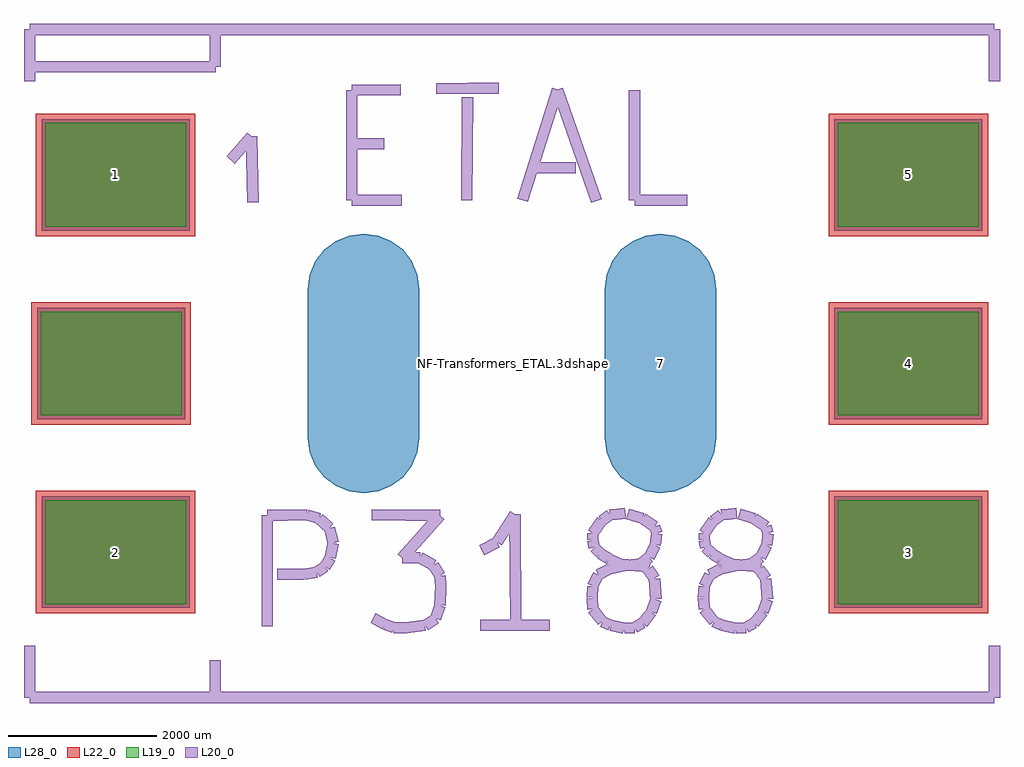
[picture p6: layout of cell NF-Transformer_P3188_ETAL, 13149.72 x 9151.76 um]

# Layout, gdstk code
import gdstk
lib = gdstk.Library(unit=1e-6, precision=1e-09)
def R(c, l, rs):  # rectangles x0, y0, x1, y1
    for r in rs: c.add(gdstk.rectangle(r[:2], r[2:], *l))
def A(c, l, x, y, w, h, nx, ny, dx, dy):  # array of equal rectangles
    R(c, l, [(x+i*dx, y+j*dy, x+i*dx+w, y+j*dy+h) for i in range(nx) for j in range(ny)])
def P(c, l, *ps):  # polygons
    for p in ps: c.add(gdstk.Polygon(p, *l))
L19_0 = (19, 0)
L20_0 = (20, 0)
L22_0 = (22, 0)
L28_0 = (28, 0)

nf_transformer_p3188_eta = lib.new_cell('NF-Transformer_P3188_ETAL')
A(nf_transformer_p3188_eta, L19_0, 4389.59, -3240.57, 1898.98, 1401.14, 1, 3, 0, 2540)
R(nf_transformer_p3188_eta, L19_0, [(-6288.57,-3240.57,-4389.59,-1839.43), (-6349.53,-700.57,-4450.55,700.57), (-6288.57,1839.43,-4389.59,3240.57)])
A(nf_transformer_p3188_eta, L22_0, 4264.59, -3365.57, 2148.98, 1651.14, 1, 3, 0, 2540)
R(nf_transformer_p3188_eta, L22_0, [(-6413.57,-3365.57,-4264.59,-1714.43), (-6474.53,-825.57,-4325.55,825.57), (-6413.57,1714.43,-4264.59,3365.57)])
A(nf_transformer_p3188_eta, L28_0, 4339.59, -3290.57, 1998.98, 1501.14, 1, 3, 0, 2540)
R(nf_transformer_p3188_eta, L28_0, [(-6338.57,-3290.57,-4339.59,-1789.43), (-6399.53,-750.57,-4400.55,750.57), (-6338.57,1789.43,-4339.59,3290.57)])
P(nf_transformer_p3188_eta, L28_0, [(-1998.98,-1750.06),(-1804.718,-1724.485),(-1623.695,-1649.503),(-1468.247,-1530.223),(-1348.967,-1374.775),(-1273.985,-1193.752),(-1248.41,-999.49),(-1248.41,999.49),(-1273.985,1193.752),(-1348.967,1374.775),(-1468.247,1530.223),(-1623.695,1649.503),(-1804.718,1724.485),(-1998.98,1750.06),(-2193.242,1724.485),(-2374.265,1649.503),(-2529.713,1530.223),(-2648.993,1374.775),(-2723.975,1193.752),(-2749.55,999.49),(-2749.55,-999.49),(-2723.975,-1193.752),(-2648.993,-1374.775),(-2529.713,-1530.223),(-2374.265,-1649.503),(-2193.242,-1724.485)],
  [(1998.98,-1750.06),(2193.242,-1724.485),(2374.265,-1649.503),(2529.713,-1530.223),(2648.993,-1374.775),(2723.975,-1193.752),(2749.55,-999.49),(2749.55,999.49),(2723.975,1193.752),(2648.993,1374.775),(2529.713,1530.223),(2374.265,1649.503),(2193.242,1724.485),(1998.98,1750.06),(1804.718,1724.485),(1623.695,1649.503),(1468.247,1530.223),(1348.967,1374.775),(1273.985,1193.752),(1248.41,999.49),(1248.41,-999.49),(1273.985,-1193.752),(1348.967,-1374.775),(1468.247,-1530.223),(1623.695,-1649.503),(1804.718,-1724.485)])
nf_transformer_p3188_eta.add(gdstk.FlexPath([(-6499.86,-4500.88),(6499.86,-4500.88)], 149.998, ends="flush", simple_path=True, layer=20, datatype=0))  # L20_0
nf_transformer_p3188_eta.add(gdstk.FlexPath([(6499.86,4500.88),(-6499.86,4500.88)], 149.998, ends="flush", simple_path=True, layer=20, datatype=0))  # L20_0
nf_transformer_p3188_eta.add(gdstk.FlexPath([(6499.86,4500.88),(6499.86,3799.84)], 149.998, ends="flush", simple_path=True, layer=20, datatype=0))  # L20_0
nf_transformer_p3188_eta.add(gdstk.FlexPath([(6499.86,-3799.84),(6499.86,-4500.88)], 149.998, ends="flush", simple_path=True, layer=20, datatype=0))  # L20_0
nf_transformer_p3188_eta.add(gdstk.FlexPath([(-6499.86,-3799.84),(-6499.86,-4500.88)], 149.998, ends="flush", simple_path=True, layer=20, datatype=0))  # L20_0
nf_transformer_p3188_eta.add(gdstk.FlexPath([(-6499.86,4500.88),(-6499.86,3799.84)], 149.998, ends="flush", simple_path=True, layer=20, datatype=0))  # L20_0
nf_transformer_p3188_eta.add(gdstk.FlexPath([(-2159,2199.64),(-1488.44,2199.64)], 149.998, ends="flush", simple_path=True, layer=20, datatype=0))  # L20_0
nf_transformer_p3188_eta.add(gdstk.FlexPath([(-2159,3680.46),(-2159,2199.64)], 149.998, ends="flush", simple_path=True, layer=20, datatype=0))  # L20_0
nf_transformer_p3188_eta.add(gdstk.FlexPath([(-1498.6,3690.62),(-2159,3680.46)], 149.998, ends="flush", simple_path=True, layer=20, datatype=0))  # L20_0
nf_transformer_p3188_eta.add(gdstk.FlexPath([(-2128.52,2959.1),(-1719.58,2959.1)], 149.998, ends="flush", simple_path=True, layer=20, datatype=0))  # L20_0
nf_transformer_p3188_eta.add(gdstk.FlexPath([(-1018.54,3700.78),(-177.8,3710.94)], 149.998, ends="flush", simple_path=True, layer=20, datatype=0))  # L20_0
nf_transformer_p3188_eta.add(gdstk.FlexPath([(-609.6,2199.64),(-599.44,3589.02)], 149.998, ends="flush", simple_path=True, layer=20, datatype=0))  # L20_0
nf_transformer_p3188_eta.add(gdstk.FlexPath([(612.14,3690.62),(1140.46,2189.48)], 149.998, ends="flush", simple_path=True, layer=20, datatype=0))  # L20_0
nf_transformer_p3188_eta.add(gdstk.FlexPath([(142.24,2199.64),(612.14,3690.62)], 149.998, ends="flush", simple_path=True, layer=20, datatype=0))  # L20_0
nf_transformer_p3188_eta.add(gdstk.FlexPath([(320.04,2639.06),(861.06,2639.06)], 149.998, ends="flush", simple_path=True, layer=20, datatype=0))  # L20_0
nf_transformer_p3188_eta.add(gdstk.FlexPath([(1651,2199.64),(2362.2,2199.64)], 149.998, ends="flush", simple_path=True, layer=20, datatype=0))  # L20_0
nf_transformer_p3188_eta.add(gdstk.FlexPath([(1651,3680.46),(1651,2199.64)], 149.998, ends="flush", simple_path=True, layer=20, datatype=0))  # L20_0
nf_transformer_p3188_eta.add(gdstk.FlexPath([(-2799.08,-2837.18),(-3159.76,-2837.18)], 149.998, ends="flush", simple_path=True, layer=20, datatype=0))  # L20_0
nf_transformer_p3188_eta.add(gdstk.FlexPath([(-2628.9,-2809.24),(-2799.08,-2837.18)], 149.998, ends="flush", simple_path=True, layer=20, datatype=0))  # L20_0
nf_transformer_p3188_eta.add(gdstk.FlexPath([(-2519.68,-2738.12),(-2628.9,-2809.24)], 149.998, ends="flush", simple_path=True, layer=20, datatype=0))  # L20_0
nf_transformer_p3188_eta.add(gdstk.FlexPath([(-2448.56,-2618.74),(-2519.68,-2738.12)], 149.998, ends="flush", simple_path=True, layer=20, datatype=0))  # L20_0
nf_transformer_p3188_eta.add(gdstk.FlexPath([(-2410.46,-2418.08),(-2448.56,-2618.74)], 149.998, ends="flush", simple_path=True, layer=20, datatype=0))  # L20_0
nf_transformer_p3188_eta.add(gdstk.FlexPath([(-2458.72,-2217.42),(-2410.46,-2418.08)], 149.998, ends="flush", simple_path=True, layer=20, datatype=0))  # L20_0
nf_transformer_p3188_eta.add(gdstk.FlexPath([(-2598.42,-2087.88),(-2458.72,-2217.42)], 149.998, ends="flush", simple_path=True, layer=20, datatype=0))  # L20_0
nf_transformer_p3188_eta.add(gdstk.FlexPath([(-2758.44,-2039.62),(-2598.42,-2087.88)], 149.998, ends="flush", simple_path=True, layer=20, datatype=0))  # L20_0
nf_transformer_p3188_eta.add(gdstk.FlexPath([(-3299.46,-2047.24),(-2758.44,-2039.62)], 149.998, ends="flush", simple_path=True, layer=20, datatype=0))  # L20_0
nf_transformer_p3188_eta.add(gdstk.FlexPath([(-3299.46,-3538.22),(-3299.46,-2047.24)], 149.998, ends="flush", simple_path=True, layer=20, datatype=0))  # L20_0
nf_transformer_p3188_eta.add(gdstk.FlexPath([(-1709.42,-3517.9),(-1869.44,-3429)], 149.998, ends="flush", simple_path=True, layer=20, datatype=0))  # L20_0
nf_transformer_p3188_eta.add(gdstk.FlexPath([(-1590.04,-3558.54),(-1709.42,-3517.9)], 149.998, ends="flush", simple_path=True, layer=20, datatype=0))  # L20_0
nf_transformer_p3188_eta.add(gdstk.FlexPath([(-1419.86,-3558.54),(-1590.04,-3558.54)], 149.998, ends="flush", simple_path=True, layer=20, datatype=0))  # L20_0
nf_transformer_p3188_eta.add(gdstk.FlexPath([(-1170.94,-3528.06),(-1419.86,-3558.54)], 149.998, ends="flush", simple_path=True, layer=20, datatype=0))  # L20_0
nf_transformer_p3188_eta.add(gdstk.FlexPath([(-1028.7,-3439.16),(-1170.94,-3528.06)], 149.998, ends="flush", simple_path=True, layer=20, datatype=0))  # L20_0
nf_transformer_p3188_eta.add(gdstk.FlexPath([(-970.28,-3258.82),(-1028.7,-3439.16)], 149.998, ends="flush", simple_path=True, layer=20, datatype=0))  # L20_0
nf_transformer_p3188_eta.add(gdstk.FlexPath([(-960.12,-2997.2),(-970.28,-3258.82)], 149.998, ends="flush", simple_path=True, layer=20, datatype=0))  # L20_0
nf_transformer_p3188_eta.add(gdstk.FlexPath([(-970.28,-2857.5),(-960.12,-2997.2)], 149.998, ends="flush", simple_path=True, layer=20, datatype=0))  # L20_0
nf_transformer_p3188_eta.add(gdstk.FlexPath([(-1059.18,-2717.8),(-970.28,-2857.5)], 149.998, ends="flush", simple_path=True, layer=20, datatype=0))  # L20_0
nf_transformer_p3188_eta.add(gdstk.FlexPath([(-1239.52,-2618.74),(-1059.18,-2717.8)], 149.998, ends="flush", simple_path=True, layer=20, datatype=0))  # L20_0
nf_transformer_p3188_eta.add(gdstk.FlexPath([(-1480.82,-2618.74),(-1239.52,-2618.74)], 149.998, ends="flush", simple_path=True, layer=20, datatype=0))  # L20_0
nf_transformer_p3188_eta.add(gdstk.FlexPath([(-970.28,-2047.24),(-1480.82,-2618.74)], 149.998, ends="flush", simple_path=True, layer=20, datatype=0))  # L20_0
nf_transformer_p3188_eta.add(gdstk.FlexPath([(-1889.76,-2039.62),(-970.28,-2047.24)], 149.998, ends="flush", simple_path=True, layer=20, datatype=0))  # L20_0
nf_transformer_p3188_eta.add(gdstk.FlexPath([(40.64,-2029.46),(50.8,-3528.06)], 149.998, ends="flush", simple_path=True, layer=20, datatype=0))  # L20_0
nf_transformer_p3188_eta.add(gdstk.FlexPath([(-200.66,-2407.92),(40.64,-2029.46)], 149.998, ends="flush", simple_path=True, layer=20, datatype=0))  # L20_0
nf_transformer_p3188_eta.add(gdstk.FlexPath([(-408.94,-2517.14),(-200.66,-2407.92)], 149.998, ends="flush", simple_path=True, layer=20, datatype=0))  # L20_0
nf_transformer_p3188_eta.add(gdstk.FlexPath([(-429.26,-3528.06),(510.54,-3528.06)], 149.998, ends="flush", simple_path=True, layer=20, datatype=0))  # L20_0
nf_transformer_p3188_eta.add(gdstk.FlexPath([(1760.22,-2087.88),(1559.56,-2029.46)], 149.998, ends="flush", simple_path=True, layer=20, datatype=0))  # L20_0
nf_transformer_p3188_eta.add(gdstk.FlexPath([(1920.24,-2197.1),(1760.22,-2087.88)], 149.998, ends="flush", simple_path=True, layer=20, datatype=0))  # L20_0
nf_transformer_p3188_eta.add(gdstk.FlexPath([(1950.72,-2288.54),(1920.24,-2197.1)], 149.998, ends="flush", simple_path=True, layer=20, datatype=0))  # L20_0
nf_transformer_p3188_eta.add(gdstk.FlexPath([(1930.4,-2448.56),(1950.72,-2288.54)], 149.998, ends="flush", simple_path=True, layer=20, datatype=0))  # L20_0
nf_transformer_p3188_eta.add(gdstk.FlexPath([(1849.12,-2608.58),(1930.4,-2448.56)], 149.998, ends="flush", simple_path=True, layer=20, datatype=0))  # L20_0
nf_transformer_p3188_eta.add(gdstk.FlexPath([(1729.74,-2697.48),(1849.12,-2608.58)], 149.998, ends="flush", simple_path=True, layer=20, datatype=0))  # L20_0
nf_transformer_p3188_eta.add(gdstk.FlexPath([(1501.14,-2727.96),(1729.74,-2697.48)], 149.998, ends="flush", simple_path=True, layer=20, datatype=0))  # L20_0
nf_transformer_p3188_eta.add(gdstk.FlexPath([(1320.8,-2768.6),(1501.14,-2727.96)], 149.998, ends="flush", simple_path=True, layer=20, datatype=0))  # L20_0
nf_transformer_p3188_eta.add(gdstk.FlexPath([(1160.78,-2847.34),(1320.8,-2768.6)], 149.998, ends="flush", simple_path=True, layer=20, datatype=0))  # L20_0
nf_transformer_p3188_eta.add(gdstk.FlexPath([(1089.66,-2997.2),(1160.78,-2847.34)], 149.998, ends="flush", simple_path=True, layer=20, datatype=0))  # L20_0
nf_transformer_p3188_eta.add(gdstk.FlexPath([(1079.5,-3157.22),(1089.66,-2997.2)], 149.998, ends="flush", simple_path=True, layer=20, datatype=0))  # L20_0
nf_transformer_p3188_eta.add(gdstk.FlexPath([(1089.66,-3309.62),(1079.5,-3157.22)], 149.998, ends="flush", simple_path=True, layer=20, datatype=0))  # L20_0
nf_transformer_p3188_eta.add(gdstk.FlexPath([(1219.2,-3477.26),(1089.66,-3309.62)], 149.998, ends="flush", simple_path=True, layer=20, datatype=0))  # L20_0
nf_transformer_p3188_eta.add(gdstk.FlexPath([(1330.96,-3528.06),(1219.2,-3477.26)], 149.998, ends="flush", simple_path=True, layer=20, datatype=0))  # L20_0
nf_transformer_p3188_eta.add(gdstk.FlexPath([(1511.3,-3568.7),(1330.96,-3528.06)], 149.998, ends="flush", simple_path=True, layer=20, datatype=0))  # L20_0
nf_transformer_p3188_eta.add(gdstk.FlexPath([(1651,-3558.54),(1511.3,-3568.7)], 149.998, ends="flush", simple_path=True, layer=20, datatype=0))  # L20_0
nf_transformer_p3188_eta.add(gdstk.FlexPath([(1760.22,-3497.58),(1651,-3558.54)], 149.998, ends="flush", simple_path=True, layer=20, datatype=0))  # L20_0
nf_transformer_p3188_eta.add(gdstk.FlexPath([(1879.6,-3347.72),(1760.22,-3497.58)], 149.998, ends="flush", simple_path=True, layer=20, datatype=0))  # L20_0
nf_transformer_p3188_eta.add(gdstk.FlexPath([(1940.56,-3177.54),(1879.6,-3347.72)], 149.998, ends="flush", simple_path=True, layer=20, datatype=0))  # L20_0
nf_transformer_p3188_eta.add(gdstk.FlexPath([(1920.24,-2898.14),(1940.56,-3177.54)], 149.998, ends="flush", simple_path=True, layer=20, datatype=0))  # L20_0
nf_transformer_p3188_eta.add(gdstk.FlexPath([(1831.34,-2768.6),(1920.24,-2898.14)], 149.998, ends="flush", simple_path=True, layer=20, datatype=0))  # L20_0
nf_transformer_p3188_eta.add(gdstk.FlexPath([(1760.22,-2727.96),(1831.34,-2768.6)], 149.998, ends="flush", simple_path=True, layer=20, datatype=0))  # L20_0
nf_transformer_p3188_eta.add(gdstk.FlexPath([(1470.66,-2707.64),(1760.22,-2727.96)], 149.998, ends="flush", simple_path=True, layer=20, datatype=0))  # L20_0
nf_transformer_p3188_eta.add(gdstk.FlexPath([(1300.48,-2628.9),(1470.66,-2707.64)], 149.998, ends="flush", simple_path=True, layer=20, datatype=0))  # L20_0
nf_transformer_p3188_eta.add(gdstk.FlexPath([(1191.26,-2557.78),(1300.48,-2628.9)], 149.998, ends="flush", simple_path=True, layer=20, datatype=0))  # L20_0
nf_transformer_p3188_eta.add(gdstk.FlexPath([(1109.98,-2479.04),(1191.26,-2557.78)], 149.998, ends="flush", simple_path=True, layer=20, datatype=0))  # L20_0
nf_transformer_p3188_eta.add(gdstk.FlexPath([(1089.66,-2377.44),(1109.98,-2479.04)], 149.998, ends="flush", simple_path=True, layer=20, datatype=0))  # L20_0
nf_transformer_p3188_eta.add(gdstk.FlexPath([(1089.66,-2288.54),(1089.66,-2377.44)], 149.998, ends="flush", simple_path=True, layer=20, datatype=0))  # L20_0
nf_transformer_p3188_eta.add(gdstk.FlexPath([(1211.58,-2118.36),(1089.66,-2288.54)], 149.998, ends="flush", simple_path=True, layer=20, datatype=0))  # L20_0
nf_transformer_p3188_eta.add(gdstk.FlexPath([(1320.8,-2039.62),(1211.58,-2118.36)], 149.998, ends="flush", simple_path=True, layer=20, datatype=0))  # L20_0
nf_transformer_p3188_eta.add(gdstk.FlexPath([(1419.86,-2029.46),(1320.8,-2039.62)], 149.998, ends="flush", simple_path=True, layer=20, datatype=0))  # L20_0
nf_transformer_p3188_eta.add(gdstk.FlexPath([(1529.08,-2019.3),(1419.86,-2029.46)], 149.998, ends="flush", simple_path=True, layer=20, datatype=0))  # L20_0
nf_transformer_p3188_eta.add(gdstk.FlexPath([(-4000.5,4500.88),(-4000.5,4000.5)], 149.998, ends="flush", simple_path=True, layer=20, datatype=0))  # L20_0
nf_transformer_p3188_eta.add(gdstk.FlexPath([(-4000.5,-4500.88),(-4000.5,-4000.5)], 149.998, ends="flush", simple_path=True, layer=20, datatype=0))  # L20_0
nf_transformer_p3188_eta.add(gdstk.FlexPath([(3030.22,-2019.3),(2921,-2029.46)], 149.998, ends="flush", simple_path=True, layer=20, datatype=0))  # L20_0
nf_transformer_p3188_eta.add(gdstk.FlexPath([(2921,-2029.46),(2821.94,-2039.62)], 149.998, ends="flush", simple_path=True, layer=20, datatype=0))  # L20_0
nf_transformer_p3188_eta.add(gdstk.FlexPath([(2821.94,-2039.62),(2712.72,-2118.36)], 149.998, ends="flush", simple_path=True, layer=20, datatype=0))  # L20_0
nf_transformer_p3188_eta.add(gdstk.FlexPath([(2712.72,-2118.36),(2590.8,-2288.54)], 149.998, ends="flush", simple_path=True, layer=20, datatype=0))  # L20_0
nf_transformer_p3188_eta.add(gdstk.FlexPath([(2590.8,-2288.54),(2590.8,-2377.44)], 149.998, ends="flush", simple_path=True, layer=20, datatype=0))  # L20_0
nf_transformer_p3188_eta.add(gdstk.FlexPath([(2590.8,-2377.44),(2611.12,-2479.04)], 149.998, ends="flush", simple_path=True, layer=20, datatype=0))  # L20_0
nf_transformer_p3188_eta.add(gdstk.FlexPath([(2611.12,-2479.04),(2692.4,-2557.78)], 149.998, ends="flush", simple_path=True, layer=20, datatype=0))  # L20_0
nf_transformer_p3188_eta.add(gdstk.FlexPath([(2692.4,-2557.78),(2801.62,-2628.9)], 149.998, ends="flush", simple_path=True, layer=20, datatype=0))  # L20_0
nf_transformer_p3188_eta.add(gdstk.FlexPath([(2801.62,-2628.9),(2971.8,-2707.64)], 149.998, ends="flush", simple_path=True, layer=20, datatype=0))  # L20_0
nf_transformer_p3188_eta.add(gdstk.FlexPath([(2971.8,-2707.64),(3261.36,-2727.96)], 149.998, ends="flush", simple_path=True, layer=20, datatype=0))  # L20_0
nf_transformer_p3188_eta.add(gdstk.FlexPath([(3261.36,-2727.96),(3332.48,-2768.6)], 149.998, ends="flush", simple_path=True, layer=20, datatype=0))  # L20_0
nf_transformer_p3188_eta.add(gdstk.FlexPath([(3332.48,-2768.6),(3421.38,-2898.14)], 149.998, ends="flush", simple_path=True, layer=20, datatype=0))  # L20_0
nf_transformer_p3188_eta.add(gdstk.FlexPath([(3421.38,-2898.14),(3441.7,-3177.54)], 149.998, ends="flush", simple_path=True, layer=20, datatype=0))  # L20_0
nf_transformer_p3188_eta.add(gdstk.FlexPath([(3441.7,-3177.54),(3380.74,-3347.72)], 149.998, ends="flush", simple_path=True, layer=20, datatype=0))  # L20_0
nf_transformer_p3188_eta.add(gdstk.FlexPath([(3380.74,-3347.72),(3261.36,-3497.58)], 149.998, ends="flush", simple_path=True, layer=20, datatype=0))  # L20_0
nf_transformer_p3188_eta.add(gdstk.FlexPath([(3261.36,-3497.58),(3152.14,-3558.54)], 149.998, ends="flush", simple_path=True, layer=20, datatype=0))  # L20_0
nf_transformer_p3188_eta.add(gdstk.FlexPath([(3152.14,-3558.54),(3012.44,-3568.7)], 149.998, ends="flush", simple_path=True, layer=20, datatype=0))  # L20_0
nf_transformer_p3188_eta.add(gdstk.FlexPath([(3012.44,-3568.7),(2832.1,-3528.06)], 149.998, ends="flush", simple_path=True, layer=20, datatype=0))  # L20_0
nf_transformer_p3188_eta.add(gdstk.FlexPath([(2832.1,-3528.06),(2720.34,-3477.26)], 149.998, ends="flush", simple_path=True, layer=20, datatype=0))  # L20_0
nf_transformer_p3188_eta.add(gdstk.FlexPath([(2720.34,-3477.26),(2590.8,-3309.62)], 149.998, ends="flush", simple_path=True, layer=20, datatype=0))  # L20_0
nf_transformer_p3188_eta.add(gdstk.FlexPath([(2590.8,-3309.62),(2580.64,-3157.22)], 149.998, ends="flush", simple_path=True, layer=20, datatype=0))  # L20_0
nf_transformer_p3188_eta.add(gdstk.FlexPath([(2580.64,-3157.22),(2590.8,-2997.2)], 149.998, ends="flush", simple_path=True, layer=20, datatype=0))  # L20_0
nf_transformer_p3188_eta.add(gdstk.FlexPath([(2590.8,-2997.2),(2661.92,-2847.34)], 149.998, ends="flush", simple_path=True, layer=20, datatype=0))  # L20_0
nf_transformer_p3188_eta.add(gdstk.FlexPath([(2661.92,-2847.34),(2821.94,-2768.6)], 149.998, ends="flush", simple_path=True, layer=20, datatype=0))  # L20_0
nf_transformer_p3188_eta.add(gdstk.FlexPath([(2821.94,-2768.6),(3002.28,-2727.96)], 149.998, ends="flush", simple_path=True, layer=20, datatype=0))  # L20_0
nf_transformer_p3188_eta.add(gdstk.FlexPath([(3002.28,-2727.96),(3230.88,-2697.48)], 149.998, ends="flush", simple_path=True, layer=20, datatype=0))  # L20_0
nf_transformer_p3188_eta.add(gdstk.FlexPath([(3230.88,-2697.48),(3350.26,-2608.58)], 149.998, ends="flush", simple_path=True, layer=20, datatype=0))  # L20_0
nf_transformer_p3188_eta.add(gdstk.FlexPath([(3350.26,-2608.58),(3431.54,-2448.56)], 149.998, ends="flush", simple_path=True, layer=20, datatype=0))  # L20_0
nf_transformer_p3188_eta.add(gdstk.FlexPath([(3431.54,-2448.56),(3451.86,-2288.54)], 149.998, ends="flush", simple_path=True, layer=20, datatype=0))  # L20_0
nf_transformer_p3188_eta.add(gdstk.FlexPath([(3451.86,-2288.54),(3421.38,-2197.1)], 149.998, ends="flush", simple_path=True, layer=20, datatype=0))  # L20_0
nf_transformer_p3188_eta.add(gdstk.FlexPath([(3421.38,-2197.1),(3261.36,-2087.88)], 149.998, ends="flush", simple_path=True, layer=20, datatype=0))  # L20_0
nf_transformer_p3188_eta.add(gdstk.FlexPath([(3261.36,-2087.88),(3060.7,-2029.46)], 149.998, ends="flush", simple_path=True, layer=20, datatype=0))  # L20_0
nf_transformer_p3188_eta.add(gdstk.FlexPath([(-3990.34,4000.5),(-6421.12,4000.5)], 149.998, ends="flush", simple_path=True, layer=20, datatype=0))  # L20_0
nf_transformer_p3188_eta.add(gdstk.FlexPath([(-3510.28,3060.7),(-3489.96,2169.16)], 149.998, ends="flush", simple_path=True, layer=20, datatype=0))  # L20_0
nf_transformer_p3188_eta.add(gdstk.FlexPath([(-3789.68,2740.66),(-3510.28,3060.7)], 149.998, ends="flush", simple_path=True, layer=20, datatype=0))  # L20_0
nf_transformer_p3188_eta.add(gdstk.Label('NF-Transformers_ETAL.3dshapes/NF-Transformer_P3188_ETAL.wrl', (0,0), layer=12, texttype=0))
nf_transformer_p3188_eta.add(gdstk.Label('7', (1998.98,0), layer=28, texttype=0))
nf_transformer_p3188_eta.add(gdstk.Label('5', (5339.08,2540), layer=28, texttype=0))
nf_transformer_p3188_eta.add(gdstk.Label('4', (5339.08,0), layer=28, texttype=0))
nf_transformer_p3188_eta.add(gdstk.Label('3', (5339.08,-2540), layer=28, texttype=0))
nf_transformer_p3188_eta.add(gdstk.Label('2', (-5339.08,-2540), layer=28, texttype=0))
nf_transformer_p3188_eta.add(gdstk.Label('1', (-5339.08,2540), layer=28, texttype=0))
nf_transformer_p3188_eta.add(gdstk.Label('type', (0,-6499.86), layer=9, texttype=0))
nf_transformer_p3188_eta.add(gdstk.Label('devicename', (0,7000.24), layer=9, texttype=0))

lib.write_gds('NF-Transformer_P3188_ETAL.gds')
